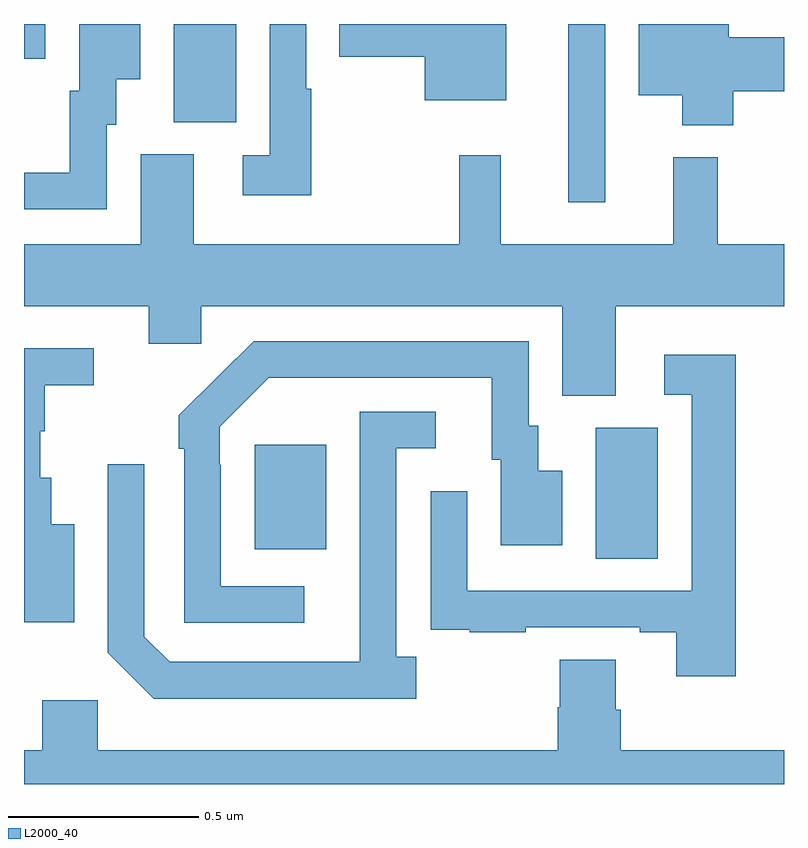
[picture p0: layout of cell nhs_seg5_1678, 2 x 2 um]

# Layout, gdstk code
import gdstk
lib = gdstk.Library(unit=1e-6, precision=1e-09)
def R(c, l, rs):  # rectangles x0, y0, x1, y1
    for r in rs: c.add(gdstk.rectangle(r[:2], r[2:], *l))
def P(c, l, *ps):  # polygons
    for p in ps: c.add(gdstk.Polygon(p, *l))
L2000_40 = (2000, 40)

nhs_seg5_1678 = lib.new_cell('nhs_seg5_1678')
R(nhs_seg5_1678, L2000_40, [(134.504,893.392,134.668,893.736), (133.607,893.417,133.795,893.692), (134.432,894.33,134.529,894.799), (133.394,894.541,133.558,894.799), (133,894.708,133.056,894.799)])
P(nhs_seg5_1678, L2000_40, [(134.867,894.622),(135,894.622),(135,894.764),(134.854,894.764),(134.854,894.799),(134.618,894.799),(134.618,894.611),(134.732,894.611),(134.732,894.533),(134.867,894.533)],
  [(133.756,894.629),(133.743,894.629),(133.743,894.799),(133.647,894.799),(133.647,894.453),(133.575,894.453),(133.575,894.348),(133.756,894.348)],
  [(133.218,894.534),(133.243,894.534),(133.243,894.653),(133.306,894.653),(133.306,894.799),(133.145,894.799),(133.145,894.624),(133.121,894.624),(133.121,894.408),(133,894.408),(133,894.312),(133.218,894.312)],
  [(134.269,894.799),(133.83,894.799),(133.83,894.713),(134.054,894.713),(134.054,894.599),(134.269,894.599)],
  [(135,894.22),(134.825,894.22),(134.825,894.448),(134.708,894.448),(134.708,894.22),(134.255,894.22),(134.255,894.454),(134.145,894.454),(134.145,894.22),(133.447,894.22),(133.447,894.456),(133.307,894.456),(133.307,894.22),(133,894.22),(133,894.056),(133.328,894.056),(133.328,893.958),(133.467,893.958),(133.467,894.056),(134.417,894.056),(134.417,893.821),(134.557,893.821),(134.557,894.056),(135,894.056)],
  [(133.738,893.319),(133.518,893.319),(133.518,893.639),(133.515,893.639),(133.515,893.739),(133.644,893.868),(134.231,893.868),(134.231,893.652),(134.255,893.652),(134.255,893.427),(134.416,893.427),(134.416,893.623),(134.353,893.623),(134.353,893.742),(134.328,893.742),(134.328,893.964),(133.604,893.964),(133.513,893.873),(133.512,893.874),(133.407,893.769),(133.407,893.681),(133.422,893.681),(133.422,893.223),(133.738,893.223)],
  [(133.132,893.482),(133.072,893.482),(133.072,893.605),(133.043,893.605),(133.043,893.727),(133.054,893.727),(133.054,893.848),(133.183,893.848),(133.183,893.946),(133,893.946),(133,893.225),(133.132,893.225)],
  [(134.873,893.929),(134.685,893.929),(134.685,893.823),(134.757,893.823),(134.757,893.307),(134.166,893.307),(134.166,893.569),(134.07,893.569),(134.07,893.314),(134.071,893.314),(134.071,893.205),(134.173,893.205),(134.173,893.199),(134.321,893.199),(134.321,893.211),(134.621,893.211),(134.621,893.199),(134.717,893.199),(134.717,893.082),(134.873,893.082)],
  [(134.032,893.134),(133.98,893.134),(133.98,893.682),(134.083,893.682),(134.083,893.778),(133.884,893.778),(133.884,893.321),(133.883,893.321),(133.883,893.121),(133.383,893.121),(133.317,893.187),(133.317,893.641),(133.221,893.641),(133.221,893.145),(133.342,893.024),(134.032,893.024)],
  [(134.41,893.126),(134.41,893.001),(134.405,893.001),(134.405,892.888),(133.194,892.888),(133.194,893.02),(133.048,893.02),(133.048,892.888),(133,892.888),(133,892.799),(135,892.799),(135,892.888),(134.57,892.888),(134.57,892.994),(134.557,892.994),(134.557,893.126)])

lib.write_gds('nhs_seg5_1678.gds')
